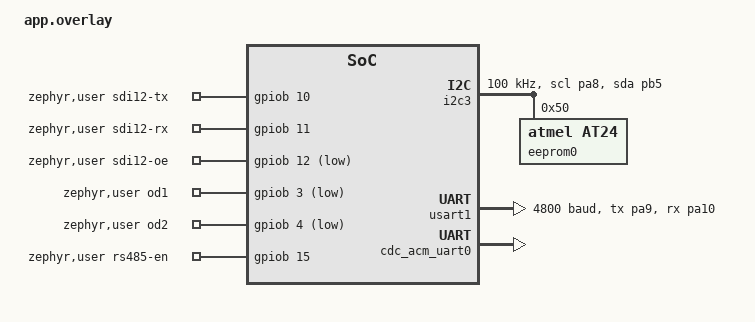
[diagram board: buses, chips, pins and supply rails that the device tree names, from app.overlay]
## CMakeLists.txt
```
# Copyright (c) 2026
# SPDX-License-Identifier: Apache-2.0

cmake_minimum_required(VERSION 3.20.0)

find_package(Zephyr REQUIRED HINTS $ENV{ZEPHYR_BASE})
project(dajilog_485_to_sdi12)

if(NOT "${BOARD}" STREQUAL "dajilog_tech")
  message(FATAL_ERROR
    "dajilog_485_to_sdi12 is pinned to -b dajilog_tech. "
    "This prevents SDI-12 pins PB10/PB11/PB12 from driving relay pins on other boards.")
endif()

target_include_directories(app PRIVATE
  include
)

target_sources(app PRIVATE
  src/main.c
  src/stm32g4_ucpd_fix.c
  src/app_msg.c
  src/app_context.c
  src/app_fsm.c
  src/bridge_state.c
  src/rs485_task.c
  src/sdi12_task.c
  src/sdi12_response.c
  src/monitor_task.c
  src/bridge_can_service.c
  src/bridge_shell.c
)
```

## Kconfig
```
# Copyright (c) 2026
# SPDX-License-Identifier: Apache-2.0

source "Kconfig.zephyr"

menuconfig BRIDGE_485_TO_SDI12
	bool "Dajilog 485 to SDI-12 bridge app"
	default y
	depends on DAJILOG_COMPONENT_RS485_MODBUS
	depends on DAJILOG_COMPONENT_SDI12_SLAVE

if BRIDGE_485_TO_SDI12

config BRIDGE_APP_MSGQ_DEPTH
	int "Bridge app message queue depth"
	default 16
	range 4 64

config BRIDGE_FSM_POLL_TIMEOUT_MS
	int "FSM message wait timeout"
	default 500
	range 10 10000

config BRIDGE_MONITOR_THREAD_STACK_SIZE
	int "Monitor thread stack size"
	default 1536

config BRIDGE_MONITOR_THREAD_PRIORITY
	int "Monitor thread priority"
	default 7

config BRIDGE_MONITOR_PERIOD_MS
	int "Monitor log period"
	default 2000
	range 0 60000

config BRIDGE_DO_STARTUP_TEST
	bool "Run one-shot DO output test at boot"
	default n
	help
	  Toggle the open-drain DO outputs once during boot so the board bring-up
	  can confirm GPIO_DT_SPEC_GET() and gpio_pin_set_dt() operation.

config BRIDGE_DO_STARTUP_TEST_ON_MS
	int "DO startup test active time"
	default 300
	range 10 5000
	depends on BRIDGE_DO_STARTUP_TEST

config BRIDGE_PB34_ONLY_TEST
	bool "Run PB3/PB4 only output test"
	default n
	help
	  Stop the normal bridge app and toggle only PB3/PB4 once per second. Use
	  this only during board bring-up to isolate the DO signals.

config BRIDGE_PB34_ONLY_TEST_PERIOD_MS
	int "PB3/PB4 only test period"
	default 1000
	range 10 60000

config BRIDGE_DISABLE_STM32G4_UCPD_DEAD_BATTERY
	bool "Disable STM32G4 UCPD dead-battery pull-down"
	default y
	help
	  Disable the hidden UCPD dead-battery pull-down on STM32G4 PB4/PA15
	  during early boot. Keep this enabled when PB4 or PA15 is used as a
	  normal GPIO instead of USB-C Power Delivery CC pins.

menu "Dajilog device services"

menuconfig BRIDGE_DEVICE_SERVICES
	bool "Enable common Device Identity services"
	default y
	depends on DAJILOG_COMPONENT_CAN_BUS
	depends on DAJILOG_COMPONENT_DEVICE_PROFILE
	depends on DAJILOG_COMPONENT_DEVICE_INFO
	depends on DAJILOG_COMPONENT_DEVICE_PROVISIONING
	help
	  Enable the common Dajilog Device Profile, CAN Device Info, and USB CDC
	  provisioning flow. The product app owns its runtime health mapping;
	  reusable protocol and persistent-profile code remains in components/.

if BRIDGE_DEVICE_SERVICES

config BRIDGE_CAN_ENABLE
	bool "Enable CAN Device Info service"
	default y
	help
	  Start FDCAN and process common Device Info requests in the bridge
	  application loop. It responds on 0x600 + node_id using 0x580 + node_id.

config BRIDGE_DEVICE_PROFILE_ALLOW_DEVELOPMENT
	bool "Allow development Device Profile fallback"
	default y
	help
	  Use the Kconfig identity below when EEPROM does not contain a valid
	  Device Profile. Disable this in production firmware after local USB
	  provisioning is complete.

config BRIDGE_DEVICE_NODE_ID
	int "Development CAN node ID"
	default 13
	range 1 127

config BRIDGE_DEVICE_SERIAL_NUMBER
	int "Development device serial number"
	default 200001
	range 1 2147483647

config BRIDGE_DEVICE_HW_REVISION
	int "Device hardware revision"
	default 1
	range 0 255

config BRIDGE_DEVICE_FW_MAJOR
	int "Firmware major version"
	default 0
	range 0 255

config BRIDGE_DEVICE_FW_MINOR
	int "Firmware minor version"
	default 1
	range 0 255

config BRIDGE_DEVICE_FW_PATCH
	int "Firmware patch version"
	default 0
	range 0 255

config BRIDGE_DEVICE_FW_BUILD
	int "Firmware build revision"
	default 1
	range 0 255

endif # BRIDGE_DEVICE_SERVICES

endmenu

config BRIDGE_RS485_TASK_THREAD_STACK_SIZE
	int "RS485 task thread stack size"
	default 1536

config BRIDGE_RS485_TASK_THREAD_PRIORITY
	int "RS485 task thread priority"
	default 5

config BRIDGE_SDI12_TASK_THREAD_STACK_SIZE
	int "SDI-12 task thread stack size"
	default 1536

config BRIDGE_SDI12_TASK_THREAD_PRIORITY
	int "SDI-12 task thread priority"
	default 5

menu "RS485 Modbus profile"

config BRIDGE_RS485_BAUDRATE
	int "RS485 baudrate"
	default 4800

choice BRIDGE_RS485_PARITY
	prompt "RS485 UART parity"
	default BRIDGE_RS485_PARITY_NONE

config BRIDGE_RS485_PARITY_NONE
	bool "None"

config BRIDGE_RS485_PARITY_EVEN
	bool "Even"

config BRIDGE_RS485_PARITY_ODD
	bool "Odd"

endchoice

config BRIDGE_RS485_SLAVE_ADDR
	int "Modbus slave address"
	default 1
	range 1 247

config BRIDGE_RS485_FUNCTION_CODE
	int "Modbus function code"
	default 4
	range 3 4
	help
	  3 = Read Holding Registers.
	  4 = Read Input Registers.
	  The rs485_modbus component supports both FC03 and FC04.

config BRIDGE_RS485_START_REG
	int "Modbus start register"
	default 0
	range 0 65535

config BRIDGE_RS485_REG_COUNT
	int "Modbus register count"
	default 2
	range 1 8

config BRIDGE_RS485_POLL_PERIOD_MS
	int "Modbus poll period"
	default 1000
	range 100 60000

config BRIDGE_RS485_RESPONSE_TIMEOUT_MS
	int "Modbus response timeout"
	default 700
	range 10 10000

config BRIDGE_RS485_TX_TURNAROUND_US
	int "RS485 TX-to-RX turnaround delay"
	default 6000
	range 0 100000

endmenu

menu "Bridge value format"

config BRIDGE_VALUE0_SCALE_DIVISOR
	int "Value 0 scale divisor"
	default 100
	range 1 1000000

config BRIDGE_VALUE1_SCALE_DIVISOR
	int "Value 1 scale divisor"
	default 100
	range 1 1000000

choice BRIDGE_RESPONSE_FORMAT
	prompt "SDI-12 D0 response value format"
	default BRIDGE_RESPONSE_FORMAT_X100

config BRIDGE_RESPONSE_FORMAT_RAW
	bool "Raw register values"

config BRIDGE_RESPONSE_FORMAT_X10
	bool "Register divided by 10"

config BRIDGE_RESPONSE_FORMAT_X100
	bool "Register divided by 100"

endchoice

endmenu

menu "SDI-12 profile"

config BRIDGE_SDI12_ADDRESS
	string "SDI-12 address"
	default "0"

config BRIDGE_SDI12_VENDOR
	string "SDI-12 vendor"
	default "DAJILOG"

config BRIDGE_SDI12_MODEL
	string "SDI-12 model"
	default "485SDI12"

config BRIDGE_SDI12_VERSION
	string "SDI-12 version"
	default "01"

config BRIDGE_SDI12_SERIAL
	string "SDI-12 serial"
	default "000001"

endmenu

endif # BRIDGE_485_TO_SDI12
```

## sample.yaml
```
sample:
  name: dajilog 485 to SDI-12 bridge
tests:
  app.dajilog_485_to_sdi12:
    platform_allow: dajilog_tech
    tags:
      - rs485
      - modbus
      - sdi12
      - usb
```

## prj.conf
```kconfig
CONFIG_GPIO=y

CONFIG_DAJILOG_COMPONENT_ADS1232=n
CONFIG_DAJILOG_COMPONENT_OLED_DISPLAY=n
CONFIG_DAJILOG_COMPONENT_RS485_MODBUS=y
CONFIG_DAJILOG_COMPONENT_CAN_BUS=y
CONFIG_DAJILOG_COMPONENT_SBUS=n
CONFIG_DAJILOG_COMPONENT_SDI12_SLAVE=y
CONFIG_DAJILOG_COMPONENT_EEPROM_STORE=y
CONFIG_DAJILOG_COMPONENT_DEVICE_PROFILE=y
CONFIG_DAJILOG_COMPONENT_DEVICE_INFO=y
CONFIG_DAJILOG_COMPONENT_DEVICE_PROVISIONING=y

CONFIG_BRIDGE_485_TO_SDI12=y

CONFIG_LOG=y
CONFIG_LOG_PRINTK=y

CONFIG_SERIAL=y
CONFIG_CONSOLE=y
CONFIG_UART_CONSOLE=y
CONFIG_UART_LINE_CTRL=y
CONFIG_SHELL=y
CONFIG_SHELL_BACKEND_SERIAL=y
CONFIG_DEVICE_SHELL=n
CONFIG_SHELL_PROMPT_UART="dajilog:~$ "
CONFIG_SHELL_STACK_SIZE=768
CONFIG_SHELL_CMD_BUFF_SIZE=128
CONFIG_SHELL_ARGC_MAX=8
CONFIG_SHELL_HISTORY=n
CONFIG_SHELL_TAB=n
CONFIG_SHELL_WILDCARD=n
CONFIG_SHELL_VT100_COMMANDS=n
CONFIG_SHELL_VT100_COLORS=n
CONFIG_SHELL_METAKEYS=n
CONFIG_SHELL_STATS=n
CONFIG_SHELL_CMDS=n
CONFIG_SHELL_LOG_BACKEND=n

CONFIG_USB_DEVICE_STACK=y
CONFIG_USB_CDC_ACM=y
CONFIG_USB_DEVICE_INITIALIZE_AT_BOOT=n
CONFIG_USB_DEVICE_PRODUCT="dajilog_485_to_sdi12"
CONFIG_USB_DEVICE_PID=0x0004

CONFIG_I2C=y
CONFIG_EEPROM=y
CONFIG_CRC=y
CONFIG_CAN=y
CONFIG_CAN_FD_MODE=n
CONFIG_CAN_DEFAULT_BITRATE=500000
CONFIG_DAJILOG_CAN_THREAD_STACK_SIZE=1024
CONFIG_DAJILOG_CAN_RX_MSGQ_DEPTH=4
CONFIG_HEAP_MEM_POOL_SIZE=2048

CONFIG_BRIDGE_MONITOR_PERIOD_MS=2000
CONFIG_BRIDGE_PB34_ONLY_TEST=n
CONFIG_BRIDGE_DEVICE_SERVICES=y
CONFIG_BRIDGE_CAN_ENABLE=y
CONFIG_BRIDGE_APP_MSGQ_DEPTH=8
```

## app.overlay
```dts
/ {
	chosen {
		zephyr,console = &cdc_acm_uart0;
		zephyr,shell-uart = &cdc_acm_uart0;
	};

	aliases {
		eeprom-0 = &eeprom0;
	};

	zephyr,user {
		sdi12-tx-gpios = <&gpiob 10 GPIO_ACTIVE_HIGH>;
		sdi12-rx-gpios = <&gpiob 11 GPIO_ACTIVE_HIGH>;
		sdi12-oe-gpios = <&gpiob 12 GPIO_ACTIVE_LOW>;
		od1-gpios = <&gpiob 3 (GPIO_ACTIVE_LOW | GPIO_OPEN_DRAIN)>;
		od2-gpios = <&gpiob 4 (GPIO_ACTIVE_LOW | GPIO_OPEN_DRAIN)>;
//		rs485-en-gpios = <&gpioa 8 GPIO_ACTIVE_HIGH>;
		rs485-en-gpios = <&gpiob 15 GPIO_ACTIVE_HIGH>;
	};
};

&i2c3 {
	pinctrl-0 = <&i2c3_scl_pa8 &i2c3_sda_pb5>;
	pinctrl-names = "default";
	clock-frequency = <100000>;
	status = "okay";

	eeprom0: eeprom@50 {
		compatible = "atmel,at24";
		reg = <0x50>;
		size = <32768>;
		pagesize = <64>;
		address-width = <16>;
		timeout = <5>;
	};
};

&usart1 {
	pinctrl-0 = <&usart1_tx_pa9 &usart1_rx_pa10>;
	pinctrl-names = "default";
	current-speed = <4800>;
	status = "okay";
};

&i2c1 {
	status = "disabled";
};

&zephyr_udc0 {
	cdc_acm_uart0: cdc_acm_uart0 {
		compatible = "zephyr,cdc-acm-uart";
	};
};
```

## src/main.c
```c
/*
 * Copyright (c) 2026
 * SPDX-License-Identifier: Apache-2.0
 */

#include <zephyr/device.h>
#include <zephyr/devicetree.h>
#include <zephyr/drivers/gpio.h>
#include <zephyr/drivers/uart.h>
#include <zephyr/kernel.h>
#include <zephyr/sys/printk.h>
#include <zephyr/usb/usb_device.h>

#include "app_context.h"
#include "eeprom_store/eeprom_store.h"

#define USER_NODE DT_PATH(zephyr_user)
#define USB_ENABLE_RETRY_COUNT 3
#define USB_START_DELAY_MS 2000
#define USB_DTR_WAIT_MS 3000
#ifndef CONFIG_BRIDGE_DO_STARTUP_TEST_ON_MS
#define CONFIG_BRIDGE_DO_STARTUP_TEST_ON_MS 300
#endif

static const struct device *const console_dev =
    DEVICE_DT_GET(DT_CHOSEN(zephyr_console));

struct do_output {
  const char *name;
  struct gpio_dt_spec gpio;
};

static const struct do_output do_outputs[] = {
    {
        .name = "do_od1_pb3",
        .gpio = GPIO_DT_SPEC_GET(USER_NODE, od1_gpios),
    },
    {
        .name = "do_od2_pb4",
        .gpio = GPIO_DT_SPEC_GET(USER_NODE, od2_gpios),
    },
};

static void start_usb_cdc_console(void) {
  uint32_t dtr = 0;
  int ret = -EIO;

  k_sleep(K_MSEC(USB_START_DELAY_MS));

  if (!IS_ENABLED(CONFIG_USB_DEVICE_INITIALIZE_AT_BOOT)) {
    for (int i = 0; i < USB_ENABLE_RETRY_COUNT; i++) {
      ret = usb_enable(NULL);
      if (ret == 0) {
        break;
      }
      k_sleep(K_MSEC(200));
    }

    if (ret != 0) {
      return;
    }
  }

  for (int elapsed_ms = 0; elapsed_ms < USB_DTR_WAIT_MS; elapsed_ms += 100) {
    (void)uart_line_ctrl_get(console_dev, UART_LINE_CTRL_DTR, &dtr);
    if (dtr != 0) {
      break;
    }
    k_sleep(K_MSEC(100));
  }
}

static int do_outputs_init(void) {
  for (size_t i = 0; i < ARRAY_SIZE(do_outputs); i++) {
    const struct do_output *output = &do_outputs[i];
    int ret;

    if (!device_is_ready(output->gpio.port)) {
      printk("%s GPIO port is not ready\r\n", output->name);
      return -ENODEV;
    }

    ret = gpio_pin_configure_dt(&output->gpio, GPIO_OUTPUT_INACTIVE);
    if (ret != 0) {
      printk("%s configure failed ret=%d\r\n", output->name, ret);
      return ret;
    }

    (void)gpio_pin_set_dt(&output->gpio, 0);
    printk("%s init: %s pin %u released\r\n", output->name,
           output->gpio.port->name, output->gpio.pin);
  }

  return 0;
}

static void do_outputs_startup_test(void) {
  if (!IS_ENABLED(CONFIG_BRIDGE_DO_STARTUP_TEST)) {
    return;
  }

  for (size_t i = 0; i < ARRAY_SIZE(do_outputs); i++) {
    const struct do_output *output = &do_outputs[i];

    printk("%s test active\r\n", output->name);
    (void)gpio_pin_set_dt(&output->gpio, 1);
    k_sleep(K_MSEC(CONFIG_BRIDGE_DO_STARTUP_TEST_ON_MS));

    printk("%s test released\r\n", output->name);
    (void)gpio_pin_set_dt(&output->gpio, 0);
    k_sleep(K_MSEC(100));
  }
}

static void pb34_only_test_forever(void) {
  int ret;

  if (!IS_ENABLED(CONFIG_BRIDGE_PB34_ONLY_TEST)) {
    return;
  }

  ret = do_outputs_init();
  if (ret != 0) {
    printk("PB3/PB4 test init failed ret=%d\r\n", ret);
    return;
  }

  printk("PB3/PB4 only test start: period=%dms\r\n",
         CONFIG_BRIDGE_PB34_ONLY_TEST_PERIOD_MS);

  while (1) {
    for (size_t i = 0; i < ARRAY_SIZE(do_outputs); i++) {
      const struct do_output *output = &do_outputs[i];

      printk("%s active\r\n", output->name);
      (void)gpio_pin_set_dt(&output->gpio, 1);
      k_sleep(K_MSEC(CONFIG_BRIDGE_PB34_ONLY_TEST_PERIOD_MS));

      printk("%s released\r\n", output->name);
      (void)gpio_pin_set_dt(&output->gpio, 0);
      k_sleep(K_MSEC(CONFIG_BRIDGE_PB34_ONLY_TEST_PERIOD_MS));
    }
  }
}

int main(void) {
  struct app_msg boot_msg = {
      .type = APP_MSG_BOOT_DONE,
      .timestamp_ms = k_uptime_get(),
  };
  int ret;

  start_usb_cdc_console();

  printk("dajilog_485_totsdi12 app skeleton\r\n");
  app_print_profile();
  pb34_only_test_forever();

  ret = do_outputs_init();
  if (ret != 0) {
    printk("do_outputs_init failed ret=%d\r\n", ret);
    return 0;
  }
  do_outputs_startup_test();

  ret = app_context_init(&app);
  if (ret != 0) {
    printk("app_context_init failed ret=%d\r\n", ret);
    return 0;
  }

  if (IS_ENABLED(CONFIG_BRIDGE_DEVICE_SERVICES)) {
    ret = app_device_services_init(&app);
    if (ret != 0) {
      printk("app_device_services_init failed ret=%d\r\n", ret);
      return 0;
    }
  }

  (void)eeprom_store_bringup_test_once();

  (void)app_msg_publish(&app.app_msgq, &boot_msg);

  ret = app_components_init(&app);
  if (ret != 0) {
    struct app_msg error_msg = {
        .type = APP_MSG_ERROR,
        .timestamp_ms = k_uptime_get(),
        .data.error =
            {
                .code = ret,
            },
    };

    printk("app_components_init failed ret=%d\r\n", ret);
    (void)app_msg_publish(&app.app_msgq, &error_msg);
  }

  ret = app_tasks_start(&app);
  if (ret != 0) {
    printk("app_tasks_start failed ret=%d\r\n", ret);
  }

  while (1) {
    struct app_msg msg;
    struct can_frame can_frame;

    if (IS_ENABLED(CONFIG_BRIDGE_CAN_ENABLE) &&
        can_bus_receive(&app.can, &can_frame, K_NO_WAIT) == 0) {
      bridge_can_service_process(&app.can_service, &can_frame);
    }

    ret = k_msgq_get(&app.app_msgq, &msg, K_MSEC(20));
    if (ret == 0) {
      printk("APP event=%s\r\n", app_msg_type_name(msg.type));
      app_fsm_handle_msg(&app.fsm, &msg);
    }
  }
}
```

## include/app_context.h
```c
/* SPDX-License-Identifier: Apache-2.0 */

#ifndef DAJILOG_485_TO_SDI12_APP_CONTEXT_H_
#define DAJILOG_485_TO_SDI12_APP_CONTEXT_H_

#include <zephyr/kernel.h>

#include <can_bus/can_bus.h>
#include <dajilog_device_info/dajilog_device_info.h>
#include <dajilog_device_profile/dajilog_device_profile.h>
#include <rs485_modbus/rs485_modbus.h>
#include <sdi12_slave/sdi12_slave.h>

#include "app_fsm.h"
#include "app_msg.h"
#include "bridge_can_service.h"
#include "bridge_state.h"

struct app_context {
  struct app_fsm fsm;
  struct bridge_state bridge;

  struct k_msgq app_msgq;
  char app_msgq_buffer[CONFIG_BRIDGE_APP_MSGQ_DEPTH *
                       sizeof(struct app_msg)] __aligned(4);

  struct rs485_modbus rs485;
  struct sdi12_slave sdi12;
  struct can_bus can;
  struct dajilog_device_profile device_profile;
  struct dajilog_device_info device_info;
  struct bridge_can_service can_service;
};

extern struct app_context app;

int app_context_init(struct app_context *ctx);
int app_device_services_init(struct app_context *ctx);
int app_components_init(struct app_context *ctx);
int app_tasks_start(struct app_context *ctx);
void app_print_profile(void);

#endif /* DAJILOG_485_TO_SDI12_APP_CONTEXT_H_ */
```

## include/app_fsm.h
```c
/* SPDX-License-Identifier: Apache-2.0 */

#ifndef DAJILOG_485_TO_SDI12_APP_FSM_H_
#define DAJILOG_485_TO_SDI12_APP_FSM_H_

#include <stdint.h>

#include "app_msg.h"

enum app_state {
  APP_STATE_BOOT,
  APP_STATE_INIT_HW,
  APP_STATE_WAIT_FIRST_SAMPLE,
  APP_STATE_READY,
  APP_STATE_ACTIVE_SESSION,
  APP_STATE_SENSOR_ERROR,
  APP_STATE_FATAL_ERROR,
};

struct app_fsm {
  enum app_state state;
  enum app_state previous_state;
  int64_t entered_at_ms;
  uint32_t event_count;
  int last_error;
};

void app_fsm_init(struct app_fsm *fsm);
void app_fsm_handle_msg(struct app_fsm *fsm, const struct app_msg *msg);
const char *app_state_name(enum app_state state);

#endif /* DAJILOG_485_TO_SDI12_APP_FSM_H_ */
```

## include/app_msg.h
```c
/* SPDX-License-Identifier: Apache-2.0 */

#ifndef DAJILOG_485_TO_SDI12_APP_MSG_H_
#define DAJILOG_485_TO_SDI12_APP_MSG_H_

#include <stdint.h>

#include <zephyr/kernel.h>

#define APP_MSG_SDI12_COMMAND_MAX_LEN 24
#define APP_MSG_RS485_MAX_REGS 8

enum app_msg_type {
  APP_MSG_BOOT_DONE,
  APP_MSG_HW_READY,
  APP_MSG_RS485_POLL_OK,
  APP_MSG_RS485_POLL_TIMEOUT,
  APP_MSG_RS485_VALUE_UPDATE,
  APP_MSG_SDI12_COMMAND_RX,
  APP_MSG_SDI12_RESPONSE_DONE,
  APP_MSG_ERROR,
};

struct app_msg {
  enum app_msg_type type;
  int64_t timestamp_ms;

  union {
    struct {
      uint16_t regs[APP_MSG_RS485_MAX_REGS];
      uint8_t reg_count;
      int error;
    } rs485;

    struct {
      char command[APP_MSG_SDI12_COMMAND_MAX_LEN];
    } sdi12;

    struct {
      int code;
    } error;
  } data;
};

const char *app_msg_type_name(enum app_msg_type type);
int app_msg_publish(struct k_msgq *msgq, const struct app_msg *msg);

#endif /* DAJILOG_485_TO_SDI12_APP_MSG_H_ */
```

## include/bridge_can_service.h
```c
/* SPDX-License-Identifier: Apache-2.0 */

#ifndef DAJILOG_485_TO_SDI12_BRIDGE_CAN_SERVICE_H_
#define DAJILOG_485_TO_SDI12_BRIDGE_CAN_SERVICE_H_

#include <zephyr/kernel.h>

#include <can_bus/can_bus.h>
#include <dajilog_device_info/dajilog_device_info.h>

#define BRIDGE_CAN_TELEMETRY_BASE_ID 0x400U
#define BRIDGE_CAN_PROTOCOL_VERSION 0x01U
#define BRIDGE_CAN_OP_MEASUREMENT 0x81U

struct app_context;

struct bridge_can_service {
  struct can_bus *bus;
  struct app_context *app;
  struct dajilog_device_info *device_info;
  uint8_t telemetry_sequence;
};

int bridge_can_service_init(struct bridge_can_service *ctx, struct can_bus *bus,
                            struct app_context *app,
                            struct dajilog_device_info *device_info);
void bridge_can_service_process(struct bridge_can_service *ctx,
                                const struct can_frame *frame);
int bridge_can_service_publish_measurement(struct bridge_can_service *ctx);
int bridge_can_service_respond_measurement(struct bridge_can_service *ctx,
					   uint8_t sequence);
void bridge_device_runtime_get(void *user_data,
                               struct dajilog_device_runtime *runtime);

#endif /* DAJILOG_485_TO_SDI12_BRIDGE_CAN_SERVICE_H_ */
```

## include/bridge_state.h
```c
/* SPDX-License-Identifier: Apache-2.0 */

#ifndef DAJILOG_485_TO_SDI12_BRIDGE_STATE_H_
#define DAJILOG_485_TO_SDI12_BRIDGE_STATE_H_

#include <stdbool.h>
#include <stdint.h>

#include <zephyr/kernel.h>

#define BRIDGE_STATE_MAX_REGS 8

struct bridge_state_snapshot {
	bool value_valid;
	int last_error;
	uint32_t poll_count;
	uint32_t update_count;
	uint32_t timeout_count;
	int64_t last_update_ms;
	uint8_t reg_count;
	uint16_t regs[BRIDGE_STATE_MAX_REGS];
};

struct bridge_state {
	struct k_mutex lock;
	struct bridge_state_snapshot data;
};

void bridge_state_init(struct bridge_state *state);
void bridge_state_update_from_rs485(struct bridge_state *state,
				    const uint16_t *regs, uint8_t reg_count);
void bridge_state_mark_poll(struct bridge_state *state);
void bridge_state_mark_timeout(struct bridge_state *state, int error);
void bridge_state_snapshot_get(struct bridge_state *state,
			       struct bridge_state_snapshot *out);

#endif /* DAJILOG_485_TO_SDI12_BRIDGE_STATE_H_ */
```

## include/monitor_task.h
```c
/* SPDX-License-Identifier: Apache-2.0 */

#ifndef DAJILOG_485_TO_SDI12_MONITOR_TASK_H_
#define DAJILOG_485_TO_SDI12_MONITOR_TASK_H_

#include "app_context.h"

int monitor_task_start(struct app_context *ctx);

#endif /* DAJILOG_485_TO_SDI12_MONITOR_TASK_H_ */
```

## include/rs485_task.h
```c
/* SPDX-License-Identifier: Apache-2.0 */

#ifndef DAJILOG_485_TO_SDI12_RS485_TASK_H_
#define DAJILOG_485_TO_SDI12_RS485_TASK_H_

#include "app_context.h"

int rs485_task_start(struct app_context *ctx);

#endif /* DAJILOG_485_TO_SDI12_RS485_TASK_H_ */
```

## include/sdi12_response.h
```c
/* SPDX-License-Identifier: Apache-2.0 */

#ifndef DAJILOG_485_TO_SDI12_SDI12_RESPONSE_H_
#define DAJILOG_485_TO_SDI12_SDI12_RESPONSE_H_

#include <sdi12_slave/sdi12_slave.h>

int sdi12_bridge_response_cb(struct sdi12_slave *sdi12, const char *cmd,
			     char *response, size_t response_len,
			     void *user_data);

#endif /* DAJILOG_485_TO_SDI12_SDI12_RESPONSE_H_ */
```

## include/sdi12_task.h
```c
/* SPDX-License-Identifier: Apache-2.0 */

#ifndef DAJILOG_485_TO_SDI12_SDI12_TASK_H_
#define DAJILOG_485_TO_SDI12_SDI12_TASK_H_

#include "app_context.h"

int sdi12_task_start(struct app_context *ctx);

#endif /* DAJILOG_485_TO_SDI12_SDI12_TASK_H_ */
```

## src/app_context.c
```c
/* SPDX-License-Identifier: Apache-2.0 */

#include "app_context.h"

#include <zephyr/device.h>
#include <zephyr/devicetree.h>
#include <zephyr/drivers/gpio.h>
#include <zephyr/drivers/uart.h>
#include <zephyr/init.h>
#include <zephyr/sys/printk.h>

#include <dajilog_device_provisioning/dajilog_device_provisioning.h>

#include "monitor_task.h"
#include "rs485_task.h"
#include "sdi12_response.h"
#include "sdi12_task.h"

#define USER_NODE DT_PATH(zephyr_user)
#define RS485_UART_NODE DT_NODELABEL(usart1)
#define CAN_NODE DT_CHOSEN(zephyr_canbus)

struct bridge_gpio_output {
	const char *name;
	struct gpio_dt_spec gpio;
};

static const struct bridge_gpio_output od_outputs[] = {
	{
		.name = "od1_pb3",
		.gpio = GPIO_DT_SPEC_GET(USER_NODE, od1_gpios),
	},
	{
		.name = "od2_pb4",
		.gpio = GPIO_DT_SPEC_GET(USER_NODE, od2_gpios),
	},
};

struct app_context app = {
	.rs485 = {
		.config = {
			.uart = DEVICE_DT_GET(RS485_UART_NODE),
			.de = GPIO_DT_SPEC_GET(USER_NODE, rs485_en_gpios),
			.default_slave_addr = CONFIG_BRIDGE_RS485_SLAVE_ADDR,
			.default_function_code = CONFIG_BRIDGE_RS485_FUNCTION_CODE,
			.default_start_reg = CONFIG_BRIDGE_RS485_START_REG,
			.default_reg_count = CONFIG_BRIDGE_RS485_REG_COUNT,
			.response_timeout_ms =
				CONFIG_BRIDGE_RS485_RESPONSE_TIMEOUT_MS,
			.tx_turnaround_us = CONFIG_BRIDGE_RS485_TX_TURNAROUND_US,
		},
	},
	.sdi12 = {
		.config = {
			.tx = GPIO_DT_SPEC_GET(USER_NODE, sdi12_tx_gpios),
			.rx = GPIO_DT_SPEC_GET(USER_NODE, sdi12_rx_gpios),
			.oe = GPIO_DT_SPEC_GET(USER_NODE, sdi12_oe_gpios),
			.rx_inverted = IS_ENABLED(CONFIG_DAJILOG_SDI12_RX_INVERTED),
			.response_cb = sdi12_bridge_response_cb,
			.user_data = &app,
		},
	},
	.can = {
		.config = {
			.dev = DEVICE_DT_GET(CAN_NODE),
			.default_tx_id = DAJILOG_DEVICE_INFO_RESPONSE_BASE_ID,
		},
	},
	.device_profile = {
		.config = {
			.allow_development_profile =
				IS_ENABLED(CONFIG_BRIDGE_DEVICE_PROFILE_ALLOW_DEVELOPMENT),
			.development_node_id = CONFIG_BRIDGE_DEVICE_NODE_ID,
			.development_hardware_revision = CONFIG_BRIDGE_DEVICE_HW_REVISION,
			.development_serial_number = CONFIG_BRIDGE_DEVICE_SERIAL_NUMBER,
		},
	},
};

static uint8_t bridge_uart_parity(void)
{
	if (IS_ENABLED(CONFIG_BRIDGE_RS485_PARITY_EVEN)) {
		return UART_CFG_PARITY_EVEN;
	}
	if (IS_ENABLED(CONFIG_BRIDGE_RS485_PARITY_ODD)) {
		return UART_CFG_PARITY_ODD;
	}

	return UART_CFG_PARITY_NONE;
}

static int configure_rs485_uart(const struct device *uart)
{
	const struct uart_config config = {
		.baudrate = CONFIG_BRIDGE_RS485_BAUDRATE,
		.parity = bridge_uart_parity(),
		.stop_bits = UART_CFG_STOP_BITS_1,
		.data_bits = UART_CFG_DATA_BITS_8,
		.flow_ctrl = UART_CFG_FLOW_CTRL_NONE,
	};

	return uart_configure(uart, &config);
}

static int configure_od_outputs(bool verbose)
{
	int ret;

	for (size_t i = 0; i < ARRAY_SIZE(od_outputs); i++) {
		const struct bridge_gpio_output *output = &od_outputs[i];

		if (!device_is_ready(output->gpio.port)) {
			if (verbose) {
				printk("%s GPIO port is not ready\r\n",
				       output->name);
			}
			return -ENODEV;
		}

		ret = gpio_pin_configure_dt(&output->gpio,
					    GPIO_OUTPUT_INACTIVE);
		if (ret != 0) {
			if (verbose) {
				printk("%s configure failed ret=%d\r\n",
				       output->name, ret);
			}
			return ret;
		}

		(void)gpio_pin_set_dt(&output->gpio, 0);

		if (verbose) {
			printk("%s ready: %s pin %u open-drain inactive/released\r\n",
			       output->name, output->gpio.port->name,
			       output->gpio.pin);
		}
	}

	return 0;
}

static int od_outputs_early_safe_state(void)
{
	return configure_od_outputs(false);
}

SYS_INIT(od_outputs_early_safe_state, APPLICATION, 0);

void app_print_profile(void)
{
	printk("Profile: RS485 slave=%d fc=%d start=%d count=%d baud=%d poll=%dms timeout=%dms\r\n",
	       CONFIG_BRIDGE_RS485_SLAVE_ADDR,
	       CONFIG_BRIDGE_RS485_FUNCTION_CODE,
	       CONFIG_BRIDGE_RS485_START_REG, CONFIG_BRIDGE_RS485_REG_COUNT,
	       CONFIG_BRIDGE_RS485_BAUDRATE,
	       CONFIG_BRIDGE_RS485_POLL_PERIOD_MS,
	       CONFIG_BRIDGE_RS485_RESPONSE_TIMEOUT_MS);
	printk("Profile: SDI-12 address=%s vendor=%s model=%s version=%s serial=%s\r\n",
	       CONFIG_BRIDGE_SDI12_ADDRESS, CONFIG_BRIDGE_SDI12_VENDOR,
	       CONFIG_BRIDGE_SDI12_MODEL, CONFIG_BRIDGE_SDI12_VERSION,
	       CONFIG_BRIDGE_SDI12_SERIAL);
}

int app_context_init(struct app_context *ctx)
{
	if (ctx == NULL) {
		return -EINVAL;
	}

	app_fsm_init(&ctx->fsm);
	bridge_state_init(&ctx->bridge);
	k_msgq_init(&ctx->app_msgq, ctx->app_msgq_buffer,
		    sizeof(struct app_msg), CONFIG_BRIDGE_APP_MSGQ_DEPTH);

	return 0;
}

int app_device_services_init(struct app_context *ctx)
{
	struct dajilog_device_profile_state profile;
	struct dajilog_device_identity identity = {
		.device_type = DAJILOG_DEVICE_TYPE_485_TO_SDI12,
		.hardware_revision = CONFIG_BRIDGE_DEVICE_HW_REVISION,
		.firmware_major = CONFIG_BRIDGE_DEVICE_FW_MAJOR,
		.firmware_minor = CONFIG_BRIDGE_DEVICE_FW_MINOR,
		.firmware_patch = CONFIG_BRIDGE_DEVICE_FW_PATCH,
		.firmware_build = CONFIG_BRIDGE_DEVICE_FW_BUILD,
		.app_protocol_version = 1,
		.capability = DAJILOG_CAPABILITY_EEPROM_STORE |
			      DAJILOG_CAPABILITY_RS485_MODBUS |
			      DAJILOG_CAPABILITY_SDI12_SLAVE |
			      DAJILOG_CAPABILITY_SERVICE_MODE,
	};
	int ret;

	if (ctx == NULL) {
		return -EINVAL;
	}

	ret = dajilog_device_profile_init(&ctx->device_profile);
	dajilog_device_profile_get(&ctx->device_profile, &profile);
	printk("Device profile init ret=%d valid=%d persistent=%d development=%d node=%u serial=%u hw=%u\r\n",
	       ret, profile.valid, profile.persistent, profile.development,
	       profile.data.node_id, (unsigned int)profile.data.serial_number,
	       profile.data.hardware_revision);
	if (ret != 0) {
		return ret;
	}

	identity.hardware_revision = profile.data.hardware_revision;
	ret = dajilog_device_info_init(&ctx->device_info, &identity,
				       &ctx->device_profile);
	if (ret != 0) {
		return ret;
	}

	ret = dajilog_device_provisioning_init(
		&(struct dajilog_device_provisioning_config){
			.device_info = &ctx->device_info,
			.runtime_get = bridge_device_runtime_get,
			.user_data = ctx,
		});
	printk("Device services init ret=%d request=0x%03x response=0x%03x\r\n",
	       ret, DAJILOG_DEVICE_INFO_REQUEST_BASE_ID + profile.data.node_id,
	       DAJILOG_DEVICE_INFO_RESPONSE_BASE_ID + profile.data.node_id);
	return ret;
}

int app_components_init(struct app_context *ctx)
{
	struct app_msg msg = {
		.type = APP_MSG_HW_READY,
		.timestamp_ms = k_uptime_get(),
	};
	int ret;

	if (ctx == NULL) {
		return -EINVAL;
	}

	ret = configure_rs485_uart(ctx->rs485.config.uart);
	printk("RS485 UART configure ret=%d\r\n", ret);
	if (ret != 0) {
		return ret;
	}

	ret = configure_od_outputs(true);
	printk("OD outputs configure ret=%d\r\n", ret);
	if (ret != 0) {
		return ret;
	}

	if (IS_ENABLED(CONFIG_BRIDGE_CAN_ENABLE)) {
		ret = can_bus_init(&ctx->can);
		if (ret == 0) {
			ret = can_bus_start(&ctx->can);
		}
		printk("CAN component start ret=%d\r\n", ret);
		if (ret != 0) {
			return ret;
		}
	}

	ret = rs485_modbus_init(&ctx->rs485);
	if (ret == 0) {
		ret = rs485_modbus_start(&ctx->rs485);
	}
	printk("RS485 component start ret=%d\r\n", ret);
	if (ret != 0) {
		return ret;
	}

	ret = sdi12_slave_init(&ctx->sdi12);
	if (ret == 0) {
		ret = sdi12_slave_start(&ctx->sdi12);
	}
	printk("SDI-12 component start ret=%d\r\n", ret);
	if (ret != 0) {
		return ret;
	}

	(void)app_msg_publish(&ctx->app_msgq, &msg);

	return 0;
}

int app_tasks_start(struct app_context *ctx)
{
	int ret;

	if (IS_ENABLED(CONFIG_BRIDGE_CAN_ENABLE)) {
		ret = bridge_can_service_init(&ctx->can_service, &ctx->can, ctx,
					      &ctx->device_info);
		if (ret != 0) {
			return ret;
		}
		printk("Bridge CAN Device Info and telemetry service ready\r\n");
	}

	ret = rs485_task_start(ctx);
	if (ret != 0) {
		return ret;
	}

	ret = sdi12_task_start(ctx);
	if (ret != 0) {
		return ret;
	}

	return monitor_task_start(ctx);
}
```

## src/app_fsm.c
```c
/* SPDX-License-Identifier: Apache-2.0 */

#include "app_fsm.h"

#include <zephyr/sys/printk.h>

static void app_fsm_transition(struct app_fsm *fsm, enum app_state next)
{
	if (fsm->state == next) {
		return;
	}

	printk("FSM %s -> %s\r\n", app_state_name(fsm->state),
	       app_state_name(next));
	fsm->previous_state = fsm->state;
	fsm->state = next;
	fsm->entered_at_ms = k_uptime_get();
}

const char *app_state_name(enum app_state state)
{
	switch (state) {
	case APP_STATE_BOOT:
		return "BOOT";
	case APP_STATE_INIT_HW:
		return "INIT_HW";
	case APP_STATE_WAIT_FIRST_SAMPLE:
		return "WAIT_FIRST_SAMPLE";
	case APP_STATE_READY:
		return "READY";
	case APP_STATE_ACTIVE_SESSION:
		return "ACTIVE_SESSION";
	case APP_STATE_SENSOR_ERROR:
		return "SENSOR_ERROR";
	case APP_STATE_FATAL_ERROR:
		return "FATAL_ERROR";
	default:
		return "UNKNOWN";
	}
}

void app_fsm_init(struct app_fsm *fsm)
{
	if (fsm == NULL) {
		return;
	}

	fsm->state = APP_STATE_BOOT;
	fsm->previous_state = APP_STATE_BOOT;
	fsm->entered_at_ms = k_uptime_get();
	fsm->event_count = 0;
	fsm->last_error = 0;
}

void app_fsm_handle_msg(struct app_fsm *fsm, const struct app_msg *msg)
{
	if (fsm == NULL || msg == NULL) {
		return;
	}

	fsm->event_count++;

	switch (msg->type) {
	case APP_MSG_BOOT_DONE:
		app_fsm_transition(fsm, APP_STATE_INIT_HW);
		break;
	case APP_MSG_HW_READY:
		app_fsm_transition(fsm, APP_STATE_WAIT_FIRST_SAMPLE);
		break;
	case APP_MSG_RS485_VALUE_UPDATE:
	case APP_MSG_RS485_POLL_OK:
		app_fsm_transition(fsm, APP_STATE_READY);
		break;
	case APP_MSG_RS485_POLL_TIMEOUT:
		fsm->last_error = msg->data.rs485.error;
		app_fsm_transition(fsm, APP_STATE_SENSOR_ERROR);
		break;
	case APP_MSG_SDI12_COMMAND_RX:
		app_fsm_transition(fsm, APP_STATE_ACTIVE_SESSION);
		break;
	case APP_MSG_SDI12_RESPONSE_DONE:
		app_fsm_transition(fsm, APP_STATE_READY);
		break;
	case APP_MSG_ERROR:
		fsm->last_error = msg->data.error.code;
		app_fsm_transition(fsm, APP_STATE_FATAL_ERROR);
		break;
	default:
		break;
	}
}
```

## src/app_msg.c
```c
/* SPDX-License-Identifier: Apache-2.0 */

#include "app_msg.h"

const char *app_msg_type_name(enum app_msg_type type)
{
	switch (type) {
	case APP_MSG_BOOT_DONE:
		return "BOOT_DONE";
	case APP_MSG_HW_READY:
		return "HW_READY";
	case APP_MSG_RS485_POLL_OK:
		return "RS485_POLL_OK";
	case APP_MSG_RS485_POLL_TIMEOUT:
		return "RS485_POLL_TIMEOUT";
	case APP_MSG_RS485_VALUE_UPDATE:
		return "RS485_VALUE_UPDATE";
	case APP_MSG_SDI12_COMMAND_RX:
		return "SDI12_COMMAND_RX";
	case APP_MSG_SDI12_RESPONSE_DONE:
		return "SDI12_RESPONSE_DONE";
	case APP_MSG_ERROR:
		return "ERROR";
	default:
		return "UNKNOWN";
	}
}

int app_msg_publish(struct k_msgq *msgq, const struct app_msg *msg)
{
	if (msgq == NULL || msg == NULL) {
		return -EINVAL;
	}

	return k_msgq_put(msgq, msg, K_NO_WAIT);
}
```
